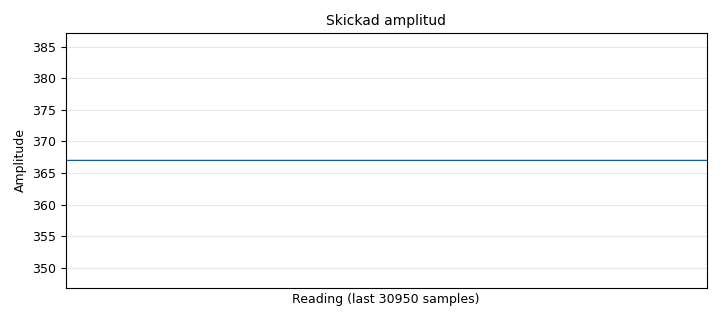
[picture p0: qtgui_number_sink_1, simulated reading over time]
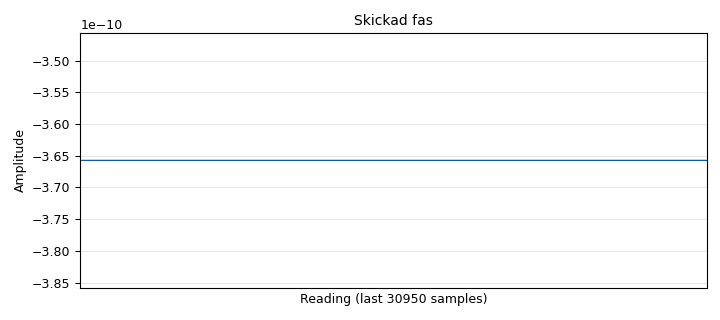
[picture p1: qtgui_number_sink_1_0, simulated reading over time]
<?xml version='1.0' encoding='utf-8'?>
<?grc format='1' created='3.7.12'?>
<flow_graph>
<block>
<key>options</key>
<param><key>id</key><value>fftfas_2_cards</value></param>
<param><key>category</key><value>Custom</value></param>
<param><key>generate_options</key><value>qt_gui</value></param>
</block>
<block>
<key>variable</key>
<param><key>id</key><value>center_freq</value></param>
<param><key>value</key><value>1e9</value></param>
</block>
<block>
<key>variable</key>
<param><key>id</key><value>fft_width</value></param>
<param><key>value</key><value>1024</value></param>
</block>
<block>
<key>variable</key>
<param><key>id</key><value>freq</value></param>
<param><key>_enabled</key><value>0</value></param>
<param><key>value</key><value>8.1e8</value></param>
</block>
<block>
<key>variable</key>
<param><key>id</key><value>rel_freq</value></param>
<param><key>value</key><value>1e6</value></param>
</block>
<block>
<key>variable</key>
<param><key>id</key><value>samp_rate</value></param>
<param><key>value</key><value>4e6</value></param>
</block>
<block>
<key>variable</key>
<param><key>id</key><value>skip</value></param>
<param><key>value</key><value>(fft_width/2+ 1  + int(round(rel_freq*fft_width/samp_rate)))</value></param>
</block>
<block>
<key>analog_sig_source_x</key>
<param><key>id</key><value>analog_sig_source_x_0</value></param>
<param><key>amp</key><value>1</value></param>
<param><key>freq</key><value>rel_freq</value></param>
<param><key>offset</key><value>0</value></param>
<param><key>type</key><value>complex</value></param>
<param><key>samp_rate</key><value>samp_rate</value></param>
<param><key>waveform</key><value>analog.GR_COS_WAVE</value></param>
</block>
<block>
<key>blocks_stream_to_vector</key>
<param><key>id</key><value>blocks_stream_to_vector_0</value></param>
<param><key>type</key><value>complex</value></param>
<param><key>num_items</key><value>1024</value></param>
</block>
<block>
<key>blocks_stream_to_vector</key>
<param><key>id</key><value>blocks_stream_to_vector_0_0</value></param>
<param><key>type</key><value>complex</value></param>
<param><key>num_items</key><value>1024</value></param>
</block>
<block>
<key>blocks_sub_xx</key>
<param><key>id</key><value>blocks_sub_xx_0</value></param>
<param><key>type</key><value>float</value></param>
</block>
<block>
<key>epy_block</key>
<param><key>id</key><value>epy_block_0</value></param>
<param><key>_source_code</key><value>"""
    Embedded Python Blocks:
    
    Each time this file is saved, GRC will instantiate the first class it finds
    to get ports and parameters of your block. The arguments to __init__  will
    be the parameters. All of them are required to have default values!
    """

import numpy as np
from gnuradio import gr
import scipy


class blk(gr.sync_block):  # other base classes are basic_block, decim_block, interp_block
    """Embedded Python Block example - a simple multiply const"""
    
    def __init__(self, example_param=1.0):  # only default arguments here
        """arguments to this function show up as parameters in GRC"""
        gr.sync_block.__init__(
                               self,
                               name='Phase between -pi and pi',   # will show up in GRC
                               in_sig=[np.float32],
                               out_sig=[np.float32]
                               )
                               # if an attribute with the same name as a parameter is found,
                               # a callback is registered (properties work, too).
        self.example_param = example_param
    
    def work(self, input_items, output_items):
        """example: multiply with constant"""
        output_items[0][:] = (scipy.pi + input_items[0]) % (2 * scipy.pi) - scipy.pi #* self.example_param
        return len(output_items[0])

</value></param>
<param><key>example_param</key><value>1.0</value></param>
</block>
<block>
<key>epy_block</key>
<param><key>id</key><value>epy_block_0_0</value></param>
<param><key>_source_code</key><value>"""
Embedded Python Blocks:

Each time this file is saved, GRC will instantiate the first class it finds
to get ports and parameters of your block. The arguments to __init__  will
be the parameters. All of them are required to have default values!
"""

import numpy as np
from gnuradio import gr
import scipy


class blk(gr.sync_block):  # other base classes are basic_block, decim_block, interp_block
    """Embedded Python Block example - a simple multiply const"""

    def __init__(self, v_len=1024, samp_rate=32000, freq=2000):  # only default arguments here
        """arguments to this function show up as parameters in GRC"""
        gr.sync_block.__init__(
            self,
            name='Single frequency amplitude/phase.',   # will show up in GRC
            in_sig=[(np.complex64, v_len)],
            out_sig=[np.float32, np.float32]
        )
        # if an attribute with the same name as a parameter is found,
        # a callback is registered (properties work, too).
        self.v_len = (v_len)
        self.samp_rate = int(samp_rate)
        self.freq = int(freq)

    def work(self, input_items, output_items):
        """example: multiply with constant"""
        def getBin(v_len, samp_rate, freq):
            return int(np.round(
                (float(v_len)/2)+(float(v_len)/2)*(float(freq)/(float(samp_rate)/2))
            ))


        freq_bin = getBin(self.v_len, self.samp_rate, self.freq)
        #print("Freq bin %d, vlen %d, samprate %d, freq %d" % (freq_bin, self.v_len, self.samp_rate, self.freq))
        
        for index, work_item in enumerate(input_items[0]):
            amp = np.absolute(work_item[freq_bin])
            phase = np.angle(work_item[freq_bin])
            output_items[0][index] = amp
            output_items[1][index] = phase
        return len(output_items[0])
</value></param>
<param><key>comment</key><value>Ser till att fasskillnaden ej ligger utanför intervallet [-pi, pi]</value></param>
<param><key>freq</key><value>rel_freq</value></param>
<param><key>samp_rate</key><value>samp_rate</value></param>
<param><key>v_len</key><value>1024</value></param>
</block>
<block>
<key>epy_block</key>
<param><key>id</key><value>epy_block_0_0_1</value></param>
<param><key>_source_code</key><value>"""
Embedded Python Blocks:

Each time this file is saved, GRC will instantiate the first class it finds
to get ports and parameters of your block. The arguments to __init__  will
be the parameters. All of them are required to have default values!
"""

import numpy as np
from gnuradio import gr
import scipy


class blk(gr.sync_block):  # other base classes are basic_block, decim_block, interp_block
    """Embedded Python Block example - a simple multiply const"""

    def __init__(self, v_len=1024, samp_rate=32000, freq=2000):  # only default arguments here
        """arguments to this function show up as parameters in GRC"""
        gr.sync_block.__init__(
            self,
            name='Single frequency amplitude/phase.',   # will show up in GRC
            in_sig=[(np.complex64, v_len)],
            out_sig=[np.float32, np.float32]
        )
        # if an attribute with the same name as a parameter is found,
        # a callback is registered (properties work, too).
        self.v_len = (v_len)
        self.samp_rate = int(samp_rate)
        self.freq = int(freq)

    def work(self, input_items, output_items):
        """example: multiply with constant"""
        def getBin(v_len, samp_rate, freq):
            return int(np.round(
                (float(v_len)/2)+(float(v_len)/2)*(float(freq)/(float(samp_rate)/2))
            ))


        freq_bin = getBin(self.v_len, self.samp_rate, self.freq)
        #print("Freq bin %d, vlen %d, samprate %d, freq %d" % (freq_bin, self.v_len, self.samp_rate, self.freq))
        
        for index, work_item in enumerate(input_items[0]):
            amp = np.absolute(work_item[freq_bin])
            phase = np.angle(work_item[freq_bin])
            output_items[0][index] = amp
            output_items[1][index] = phase
        return len(output_items[0])
</value></param>
<param><key>comment</key><value>Ser till att fasskillnaden ej ligger utanför intervallet [-pi, pi]</value></param>
<param><key>freq</key><value>rel_freq</value></param>
<param><key>samp_rate</key><value>samp_rate</value></param>
<param><key>v_len</key><value>1024</value></param>
</block>
<block>
<key>fft_vxx</key>
<param><key>id</key><value>fft_vxx_0</value></param>
<param><key>fft_size</key><value>fft_width</value></param>
<param><key>forward</key><value>True</value></param>
<param><key>type</key><value>complex</value></param>
<param><key>shift</key><value>True</value></param>
<param><key>window</key><value>window.blackmanharris(1024)</value></param>
</block>
<block>
<key>fft_vxx</key>
<param><key>id</key><value>fft_vxx_0_0</value></param>
<param><key>fft_size</key><value>fft_width</value></param>
<param><key>forward</key><value>True</value></param>
<param><key>type</key><value>complex</value></param>
<param><key>shift</key><value>True</value></param>
<param><key>window</key><value>window.blackmanharris(1024)</value></param>
</block>
<block>
<key>qtgui_freq_sink_x</key>
<param><key>id</key><value>qtgui_freq_sink_x_0</value></param>
<param><key>bw</key><value>samp_rate</value></param>
<param><key>fc</key><value>0</value></param>
<param><key>ctrlpanel</key><value>True</value></param>
<param><key>fftsize</key><value>1024</value></param>
<param><key>showports</key><value>True</value></param>
<param><key>type</key><value>complex</value></param>
<param><key>wintype</key><value>firdes.WIN_BLACKMAN_hARRIS</value></param>
</block>
<block>
<key>qtgui_number_sink</key>
<param><key>id</key><value>qtgui_number_sink_0</value></param>
<param><key>graph_type</key><value>qtgui.NUM_GRAPH_HORIZ</value></param>
<param><key>type</key><value>float</value></param>
<param><key>max</key><value>3.141</value></param>
<param><key>min</key><value>-3.141</value></param>
<param><key>name</key><value>Fasskillnad mellan skickad och mottagen signal</value></param>
</block>
<block>
<key>qtgui_number_sink</key>
<param><key>id</key><value>qtgui_number_sink_1</value></param>
<param><key>autoscale</key><value>True</value></param>
<param><key>graph_type</key><value>qtgui.NUM_GRAPH_HORIZ</value></param>
<param><key>type</key><value>float</value></param>
<param><key>name</key><value>Skickad amplitud</value></param>
</block>
<block>
<key>qtgui_number_sink</key>
<param><key>id</key><value>qtgui_number_sink_1_0</value></param>
<param><key>autoscale</key><value>True</value></param>
<param><key>graph_type</key><value>qtgui.NUM_GRAPH_HORIZ</value></param>
<param><key>type</key><value>float</value></param>
<param><key>name</key><value>Skickad fas</value></param>
</block>
<block>
<key>qtgui_number_sink</key>
<param><key>id</key><value>qtgui_number_sink_1_1</value></param>
<param><key>autoscale</key><value>True</value></param>
<param><key>graph_type</key><value>qtgui.NUM_GRAPH_HORIZ</value></param>
<param><key>type</key><value>float</value></param>
<param><key>name</key><value>Mottagen amplitud</value></param>
</block>
<block>
<key>qtgui_number_sink</key>
<param><key>id</key><value>qtgui_number_sink_1_1_0</value></param>
<param><key>autoscale</key><value>True</value></param>
<param><key>graph_type</key><value>qtgui.NUM_GRAPH_HORIZ</value></param>
<param><key>type</key><value>float</value></param>
<param><key>name</key><value>Mottagen fas</value></param>
</block>
<block>
<key>uhd_usrp_sink</key>
<param><key>id</key><value>uhd_usrp_sink_0</value></param>
<param><key>ant0</key><value>TX/RX</value></param>
<param><key>center_freq0</key><value>center_freq</value></param>
<param><key>norm_gain0</key><value>True</value></param>
<param><key>gain0</key><value>1</value></param>
<param><key>clock_rate</key><value>0.0</value></param>
<param><key>dev_addr</key><value>serial=30DBB0D</value></param>
<param><key>dev_args</key><value>""</value></param>
<param><key>type</key><value>fc32</value></param>
<param><key>clock_source0</key><value>external</value></param>
<param><key>samp_rate</key><value>samp_rate</value></param>
<param><key>hide_cmd_port</key><value>False</value></param>
<param><key>hide_lo_controls</key><value>True</value></param>
<param><key>sync</key><value>pc_clock</value></param>
<param><key>len_tag_name</key><value></value></param>
</block>
<block>
<key>uhd_usrp_source</key>
<param><key>id</key><value>uhd_usrp_source_0</value></param>
<param><key>ant0</key><value>RX2</value></param>
<param><key>center_freq0</key><value>center_freq</value></param>
<param><key>dc_offs_enb0</key><value>""</value></param>
<param><key>iq_imbal_enb0</key><value>""</value></param>
<param><key>norm_gain0</key><value>False</value></param>
<param><key>gain0</key><value>0</value></param>
<param><key>clock_rate</key><value>0.0</value></param>
<param><key>dev_addr</key><value>serial=30DBB29</value></param>
<param><key>dev_args</key><value>""</value></param>
<param><key>clock_source0</key><value>external</value></param>
<param><key>type</key><value>fc32</value></param>
<param><key>samp_rate</key><value>samp_rate</value></param>
<param><key>hide_cmd_port</key><value>False</value></param>
<param><key>hide_lo_controls</key><value>True</value></param>
<param><key>sync</key><value>pc_clock</value></param>
</block>
<connection><source_block_id>analog_sig_source_x_0</source_block_id><sink_block_id>blocks_stream_to_vector_0_0</sink_block_id><source_key>0</source_key><sink_key>0</sink_key></connection>
<connection><source_block_id>analog_sig_source_x_0</source_block_id><sink_block_id>uhd_usrp_sink_0</sink_block_id><source_key>0</source_key><sink_key>0</sink_key></connection>
<connection><source_block_id>blocks_stream_to_vector_0</source_block_id><sink_block_id>fft_vxx_0</sink_block_id><source_key>0</source_key><sink_key>0</sink_key></connection>
<connection><source_block_id>blocks_stream_to_vector_0_0</source_block_id><sink_block_id>fft_vxx_0_0</sink_block_id><source_key>0</source_key><sink_key>0</sink_key></connection>
<connection><source_block_id>blocks_sub_xx_0</source_block_id><sink_block_id>epy_block_0</sink_block_id><source_key>0</source_key><sink_key>0</sink_key></connection>
<connection><source_block_id>epy_block_0</source_block_id><sink_block_id>qtgui_number_sink_0</sink_block_id><source_key>0</source_key><sink_key>0</sink_key></connection>
<connection><source_block_id>epy_block_0_0</source_block_id><sink_block_id>qtgui_number_sink_1_1</sink_block_id><source_key>0</source_key><sink_key>0</sink_key></connection>
<connection><source_block_id>epy_block_0_0</source_block_id><sink_block_id>blocks_sub_xx_0</sink_block_id><source_key>1</source_key><sink_key>1</sink_key></connection>
<connection><source_block_id>epy_block_0_0</source_block_id><sink_block_id>qtgui_number_sink_1_1_0</sink_block_id><source_key>1</source_key><sink_key>0</sink_key></connection>
<connection><source_block_id>epy_block_0_0_1</source_block_id><sink_block_id>qtgui_number_sink_1</sink_block_id><source_key>0</source_key><sink_key>0</sink_key></connection>
<connection><source_block_id>epy_block_0_0_1</source_block_id><sink_block_id>blocks_sub_xx_0</sink_block_id><source_key>1</source_key><sink_key>0</sink_key></connection>
<connection><source_block_id>epy_block_0_0_1</source_block_id><sink_block_id>qtgui_number_sink_1_0</sink_block_id><source_key>1</source_key><sink_key>0</sink_key></connection>
<connection><source_block_id>fft_vxx_0</source_block_id><sink_block_id>epy_block_0_0</sink_block_id><source_key>0</source_key><sink_key>0</sink_key></connection>
<connection><source_block_id>fft_vxx_0_0</source_block_id><sink_block_id>epy_block_0_0_1</sink_block_id><source_key>0</source_key><sink_key>0</sink_key></connection>
<connection><source_block_id>uhd_usrp_source_0</source_block_id><sink_block_id>blocks_stream_to_vector_0</sink_block_id><source_key>0</source_key><sink_key>0</sink_key></connection>
<connection><source_block_id>uhd_usrp_source_0</source_block_id><sink_block_id>qtgui_freq_sink_x_0</sink_block_id><source_key>0</source_key><sink_key>0</sink_key></connection>
</flow_graph>
